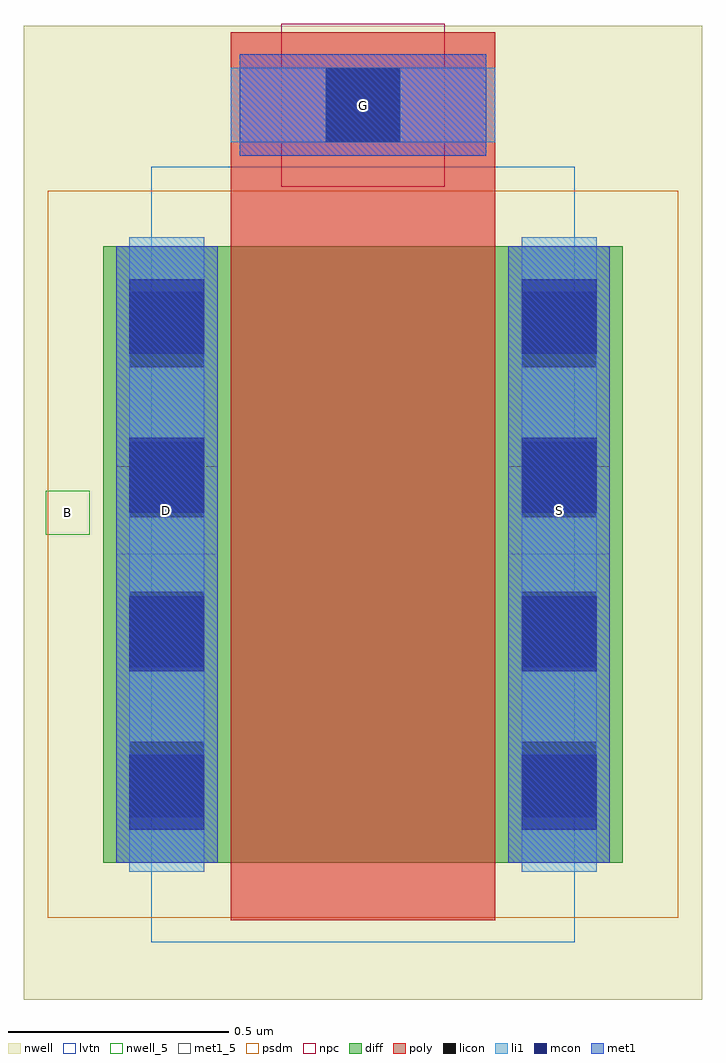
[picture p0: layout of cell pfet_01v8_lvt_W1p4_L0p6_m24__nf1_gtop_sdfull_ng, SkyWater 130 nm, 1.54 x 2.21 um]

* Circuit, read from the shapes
.subckt pfet_01v8_lvt_W1p4_L0p6_m24__nf1_gtop_sdfull_ng B D G S
XM1 S G D B sky130_fd_pr__pfet_01v8_lvt w=1.4 l=0.6
.ends

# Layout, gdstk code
import gdstk
lib = gdstk.Library(unit=1e-6, precision=1e-09)
def R(c, l, rs):  # rectangles x0, y0, x1, y1
    for r in rs: c.add(gdstk.rectangle(r[:2], r[2:], *l))
def A(c, l, x, y, w, h, nx, ny, dx, dy):  # array of equal rectangles
    R(c, l, [(x+i*dx, y+j*dy, x+i*dx+w, y+j*dy+h) for i in range(nx) for j in range(ny)])
nwell_5 = (64, 5)
nwell = (64, 20)
diff = (65, 20)
poly = (66, 20)
licon = (66, 44)
li1 = (67, 20)
mcon = (67, 44)
met1_5 = (68, 5)
met1 = (68, 20)
psdm = (94, 20)
npc = (95, 20)
lvtn = (125, 44)

sky130_fd_pr__pfet_01v8_ = lib.new_cell('sky130_fd_pr__pfet_01v8_lvt_L7GY3J')
R(sky130_fd_pr__pfet_01v8_, nwell, [(-0.77,-1.19,0.77,1.02)])
R(sky130_fd_pr__pfet_01v8_, diff, [(-0.59,-0.88,0.59,0.52)])
R(sky130_fd_pr__pfet_01v8_, poly, [(-0.3,-1.01,0.3,1.005)])
A(sky130_fd_pr__pfet_01v8_, licon, -0.53, -0.775, 0.17, 0.17, 1, 4, 0, 0.34)
A(sky130_fd_pr__pfet_01v8_, licon, 0.36, -0.775, 0.17, 0.17, 1, 4, 0, 0.34)
R(sky130_fd_pr__pfet_01v8_, licon, [(-0.085,0.755,0.085,0.925)])
R(sky130_fd_pr__pfet_01v8_, li1, [(-0.53,-0.9,-0.36,0.54), (0.36,-0.9,0.53,0.54), (-0.3,0.755,0.3,0.925)])
A(sky130_fd_pr__pfet_01v8_, mcon, -0.53, -0.805, 0.17, 0.17, 1, 4, 0, 0.36)
A(sky130_fd_pr__pfet_01v8_, mcon, 0.36, -0.805, 0.17, 0.17, 1, 4, 0, 0.36)
R(sky130_fd_pr__pfet_01v8_, mcon, [(-0.085,0.755,0.085,0.925)])
R(sky130_fd_pr__pfet_01v8_, met1, [(-0.56,-0.88,-0.33,0.52), (0.33,-0.88,0.56,0.52), (-0.28,0.725,0.28,0.955)])
R(sky130_fd_pr__pfet_01v8_, psdm, [(-0.715,-1.005,0.715,0.645)])
R(sky130_fd_pr__pfet_01v8_, npc, [(-0.185,0.655,0.185,1.025)])
R(sky130_fd_pr__pfet_01v8_, lvtn, [(-0.48,-1.06,0.48,0.7)])
sky130_fd_pr__pfet_01v8_.add(gdstk.Label('D', (-0.445,-0.18), layer=67, texttype=5))
sky130_fd_pr__pfet_01v8_.add(gdstk.Label('S', (0.445,-0.18), layer=67, texttype=5))
sky130_fd_pr__pfet_01v8_.add(gdstk.Label('G', (0,0.84), layer=67, texttype=5))

pfet_01v8_lvt_w1p4_l0p6_ = lib.new_cell('pfet_01v8_lvt_W1p4_L0p6_m24__nf1_gtop_sdfull_ng')
R(pfet_01v8_lvt_w1p4_l0p6_, nwell_5, [(0.05,1.055,0.15,1.155)])
R(pfet_01v8_lvt_w1p4_l0p6_, nwell, [(0.05,1.055,0.15,1.155)])
R(pfet_01v8_lvt_w1p4_l0p6_, met1_5, [(0.21,1.01,0.44,1.21), (1.1,1.01,1.33,1.21), (0.49,1.915,1.05,2.145)])
R(pfet_01v8_lvt_w1p4_l0p6_, met1, [(0.21,1.01,0.44,1.21), (1.1,1.01,1.33,1.21), (0.49,1.915,1.05,2.145)])
pfet_01v8_lvt_w1p4_l0p6_.add(gdstk.Reference(sky130_fd_pr__pfet_01v8_, (0.77,1.19)))
pfet_01v8_lvt_w1p4_l0p6_.add(gdstk.Label('D', (0.325,1.11), layer=68, texttype=5))
pfet_01v8_lvt_w1p4_l0p6_.add(gdstk.Label('S', (1.215,1.11), layer=68, texttype=5))
pfet_01v8_lvt_w1p4_l0p6_.add(gdstk.Label('G', (0.77,2.03), layer=68, texttype=5))
pfet_01v8_lvt_w1p4_l0p6_.add(gdstk.Label('B', (0.1,1.105), layer=64, texttype=5))

lib.write_gds('pfet_01v8_lvt_W1p4_L0p6_m24__nf1_gtop_sdfull_ng.gds')
